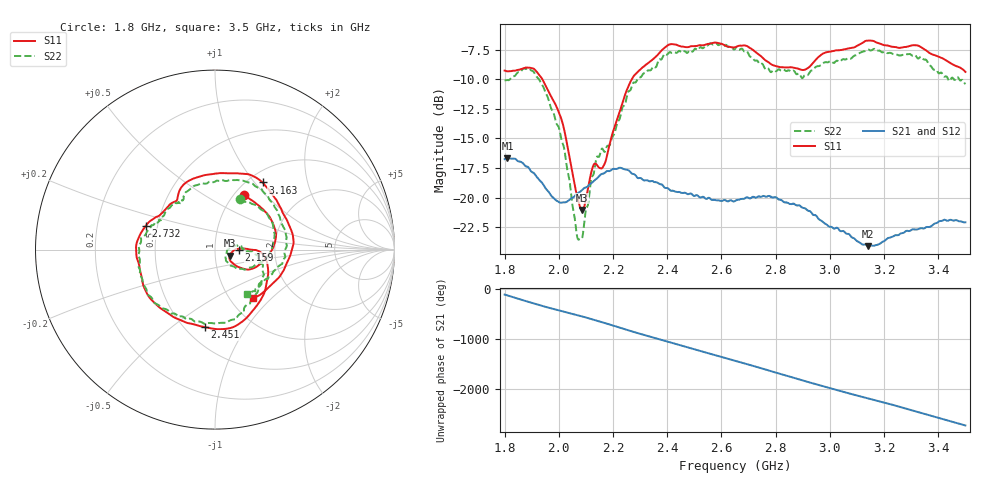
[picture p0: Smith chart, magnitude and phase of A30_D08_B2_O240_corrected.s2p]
! Created with skrf 1.9.0 (http://scikit-rf.org).
# Hz S RI R 50.0
!freq ReS11 ImS11 ReS21 ImS21 ReS12 ImS12 ReS22 ImS22
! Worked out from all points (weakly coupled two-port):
!   1601 points, 1.8 GHz to 3.5 GHz, reference 50 ohm
!   highest |S21| = -16.67 dB at 1.811 GHz (marker M1); lowest = -24.1 dB at 3.142 GHz (marker M2)
!   lowest |S11| = -21.1 dB at 2.086 GHz (marker M3), VSWR 1.19, Z = 58.8 - j3.91 ohm
!   |S11| at or under -10 dB: 1.939 GHz to 2.269 GHz (329.6 MHz wide, 15.7 % of centre)
!   |S22| runs from -23.6 to -6.9 dB; largest |S21 - S12| = 0.0028
!   S11 on the Smith chart (normalised r, x): 1.8 GHz: 1.12, +0.77; 2.159 GHz: 1.31, -0.00; 2.451 GHz: 0.62, -0.66; 2.732 GHz: 0.43, +0.14; 3.163 GHz: 1.16, +1.10; 3.5 GHz: 1.27, -0.77
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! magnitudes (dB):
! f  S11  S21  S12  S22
! 1.8 GHz  -9.3  -16.7  -16.8  -10.1
! 1.811 GHz  -9.3  -16.7  -16.7  -10.1
! 1.887 GHz  -9.0  -17.4  -17.5  -9.1
! 1.942 GHz  -10.1  -18.9  -18.9  -10.6
! 2.011 GHz  -13.5  -20.4  -20.4  -15.3
! 2.066 GHz  -19.7  -19.7  -19.7  -23.0
! 2.084 GHz  -21.0  -19.4  -19.4  -23.5
! 2.086 GHz  -21.1  -19.4  -19.4  -23.4
! 2.127 GHz  -17.3  -18.7  -18.6  -18.1
! 2.159 GHz  -17.5  -18.0  -18.0  -15.9
! 2.192 GHz  -15.1  -17.7  -17.7  -15.3
! 2.265 GHz  -10.2  -17.9  -17.9  -10.9
! 2.367 GHz  -7.9  -18.8  -18.7  -8.4
! 2.451 GHz  -7.2  -19.6  -19.6  -7.7
! 2.65 GHz  -7.3  -20.3  -20.3  -7.4
! 2.732 GHz  -7.8  -20.0  -20.0  -8.4
! 2.934 GHz  -8.7  -21.3  -21.3  -9.2
! 3.142 GHz  -6.7  -24.1  -24.0  -7.5
! 3.163 GHz  -6.8  -24.1  -24.0  -7.4
! 3.217 GHz  -7.2  -23.4  -23.4  -7.8
! 3.326 GHz  -7.1  -22.7  -22.7  -8.2
! 3.5 GHz  -9.4  -22.1  -22.1  -10.4
